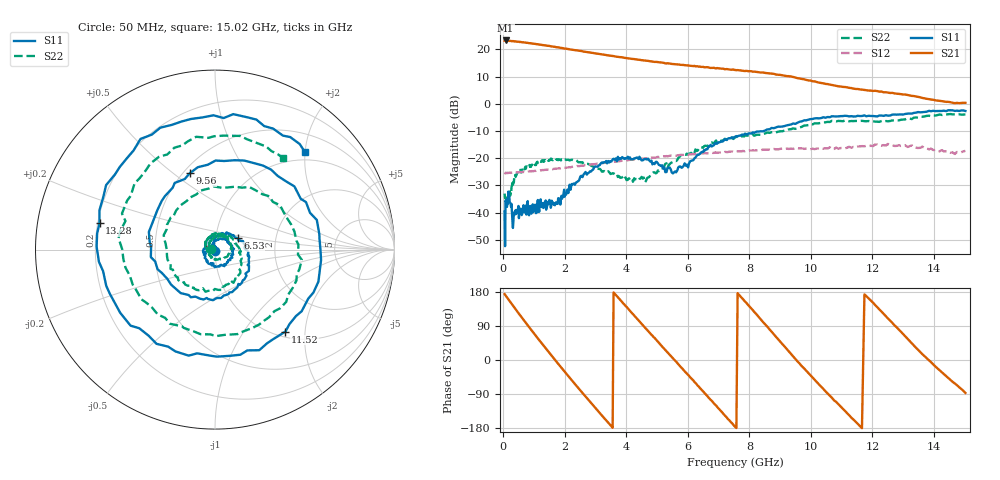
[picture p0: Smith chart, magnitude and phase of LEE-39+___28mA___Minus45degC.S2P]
! Mini-Circuits
! S2P DATA File Format
! Type: MMIC Amplifier
! Model: LEE-39+
! TEST CONDITIONS: INPUT POWER = -25dBm, Icc = 28mA, Vd = 3.76V @Temperature = -45degC
! 401 Frequency points
! S Parameters are in dB deg format
# MHz S DB R 50
!  FREQ  dB(S11)  PHS(S11)  dB(S21)  PHS(S21)  dB(S12)  PHS(S12)  dB(S22)  PHS(S22)
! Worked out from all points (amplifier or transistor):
!   401 points, 50 MHz to 15.02 GHz, reference 50 ohm
!   highest |S21| = 23.3 dB at 80 MHz (marker M1)
!   |S21| within 3 dB of that: start of sweep to 2.04 GHz
!   unconditionally stable (mu >= 1): start of sweep to end of sweep
!   at 1.04 GHz: K = 1.04, MAG = 22.1 dB, |S12| = -24.6 dB
!   at 4.57 GHz: K = 1.10, MAG = 16.1 dB, |S12| = -20.1 dB
!   at 15.02 GHz: K = 1.12, MAG = 6.7 dB, |S12| = -17.3 dB
!   S11 on the Smith chart (normalised r, x): 50 MHz: 1.00, -0.02; 6.53 GHz: 1.28, +0.17; 9.56 GHz: 0.54, +0.57; 11.52 GHz: 1.10, -1.58; 13.28 GHz: 0.21, +0.11; 15.02 GHz: 0.84, +2.00
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50  -39.59 -102.0  23.25 173.7  -25.30 -1.1  -33.00 177.1
80  -35.55 -18.7  23.30 170.4  -25.34 -4.6  -34.33 -166.2
425  -40.52 -135.6  22.96 131.8  -25.25 -25.4  -26.30 167.4
755  -40.72 177.1  22.45 96.5  -24.94 -45.5  -23.16 138.1
1085  -40.10 127.8  21.93 61.7  -24.60 -66.6  -21.64 103.9
1490  -36.66 105.8  21.28 20.2  -24.20 -92.7  -20.98 70.5
2020  -33.21 111.9  20.34 -32.6  -23.45 -128.7  -20.45 25.3
2580  -26.96 94.5  19.29 -87.0  -22.72 -167.1  -21.47 -12.8
3100  -22.70 53.6  18.38 -136.1  -21.97 155.4  -23.94 -53.7
3560  -20.44 13.2  17.59 -178.9  -21.37 121.9  -25.53 -94.4
4290  -20.09 -45.3  16.38 114.7  -20.49 66.5  -27.76 -178.3
5060  -22.44 -122.9  15.29 45.7  -19.60 7.4  -24.78 102.4
5730  -23.05 126.2  14.43 -14.5  -18.86 -45.1  -19.59 45.5
6530  -17.01 26.9  13.47 -85.7  -18.14 -109.6  -15.59 -27.5
7550  -12.05 -64.7  12.44 -177.2  -17.50 168.4  -12.28 -111.6
8520  -9.80 -156.4  11.35 93.6  -16.90 89.1  -10.88 169.3
9560  -6.98 108.4  9.44 -3.2  -16.25 1.1  -9.03 78.4
10060  -5.56 66.5  8.29 -46.9  -16.51 -40.1  -7.58 39.5
11520  -4.41 -49.3  5.46 -168.3  -15.71 -156.3  -6.30 -64.3
12580  -4.32 -133.9  3.98 103.4  -15.16 114.0  -6.31 -142.2
13280  -3.61 167.1  2.91 44.1  -15.30 53.1  -5.62 162.3
15020  -2.63 47.3  0.37 -87.0  -17.27 -70.1  -3.93 53.3
